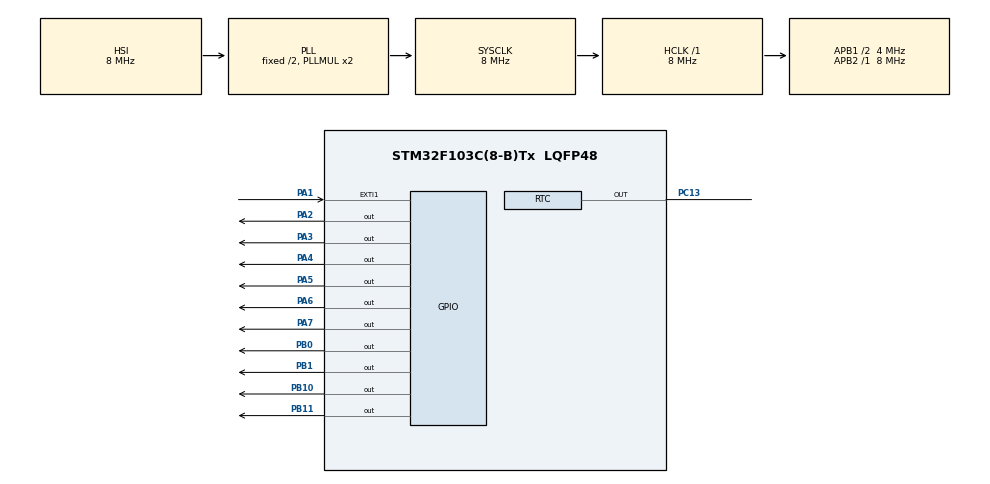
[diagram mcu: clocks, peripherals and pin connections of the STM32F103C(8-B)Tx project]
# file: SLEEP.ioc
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Mcu.Family=STM32F1
Mcu.Name=STM32F103C(8-B)Tx
Mcu.Package=LQFP48
NVIC.EXTI1_IRQn=true\:0\:0\:false\:false\:true\:true\:true
NVIC.PriorityGroup=NVIC_PRIORITYGROUP_4
NVIC.RTC_Alarm_IRQn=true\:0\:0\:false\:false\:true\:true\:true
NVIC.RTC_IRQn=true\:0\:0\:false\:false\:true\:true\:true
PA0-WKUP.Mode=SYS_WakeUp0
PA0-WKUP.Signal=SYS_WKUP
PA1.GPIO_ModeDefaultEXTI=GPIO_MODE_IT_FALLING
PA1.GPIO_PuPd=GPIO_PULLUP
PA1.Signal=GPXTI1
PA13.Mode=Serial_Wire
PA13.Signal=SYS_JTMS-SWDIO
PA14.Mode=Serial_Wire
PA14.Signal=SYS_JTCK-SWCLK
PA2.Signal=GPIO_Output
PA3.Signal=GPIO_Output
PA4.Signal=GPIO_Output
PA5.Signal=GPIO_Output
PA6.Signal=GPIO_Output
PA7.Signal=GPIO_Output
PB0.Signal=GPIO_Output
PB1.Signal=GPIO_Output
PB10.Signal=GPIO_Output
PB11.Signal=GPIO_Output
PC13-TAMPER-RTC.Mode=RTC OUT
PC13-TAMPER-RTC.Signal=RTC_OUT
ProjectManager.HeapSize=0x200
ProjectManager.StackSize=0x400
ProjectManager.TargetToolchain=MDK-ARM V5.27
RCC.AHBFreq_Value=8000000
RCC.APB1CLKDivider=RCC_HCLK_DIV2
RCC.APB1Freq_Value=4000000
RCC.APB1TimFreq_Value=8000000
RCC.APB2Freq_Value=8000000
RCC.APB2TimFreq_Value=8000000
RCC.HCLKFreq_Value=8000000
RCC.SYSCLKFreq_VALUE=8000000
RCC.SYSCLKSource=RCC_SYSCLKSOURCE_PLLCLK
RCC.USBFreq_Value=8000000
RTC.Hours=1
RTC.Hours_A-RTC\ OUT=1
RTC.Seconds_A-RTC\ OUT=10
VP_RTC_VS_RTC_Activate.Mode=RTC_Enabled
VP_RTC_VS_RTC_Calendar.Mode=RTC_Calendar
board=custom

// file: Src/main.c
/* USER CODE BEGIN Header */
/**
  ******************************************************************************
  * @file           : main.c
  * @brief          : Main program body
  ******************************************************************************
  ** This notice applies to any and all portions of this file
  * that are not between comment pairs USER CODE BEGIN and
  * USER CODE END. Other portions of this file, whether
  * inserted by the user or by software development tools
  * are owned by their respective copyright owners.
  *
  * COPYRIGHT(c) 2018 STMicroelectronics
  *
  * Redistribution and use in source and binary forms, with or without modification,
  * are permitted provided that the following conditions are met:
  *   1. Redistributions of source code must retain the above copyright notice,
  *      this list of conditions and the following disclaimer.
  *   2. Redistributions in binary form must reproduce the above copyright notice,
  *      this list of conditions and the following disclaimer in the documentation
  *      and/or other materials provided with the distribution.
  *   3. Neither the name of STMicroelectronics nor the names of its contributors
  *      may be used to endorse or promote products derived from this software
  *      without specific prior written permission.
  *
  * THIS SOFTWARE IS PROVIDED BY THE COPYRIGHT HOLDERS AND CONTRIBUTORS "AS IS"
  * AND ANY EXPRESS OR IMPLIED WARRANTIES, INCLUDING, BUT NOT LIMITED TO, THE
  * IMPLIED WARRANTIES OF MERCHANTABILITY AND FITNESS FOR A PARTICULAR PURPOSE ARE
  * DISCLAIMED. IN NO EVENT SHALL THE COPYRIGHT HOLDER OR CONTRIBUTORS BE LIABLE
  * FOR ANY DIRECT, INDIRECT, INCIDENTAL, SPECIAL, EXEMPLARY, OR CONSEQUENTIAL
  * DAMAGES (INCLUDING, BUT NOT LIMITED TO, PROCUREMENT OF SUBSTITUTE GOODS OR
  * SERVICES; LOSS OF USE, DATA, OR PROFITS; OR BUSINESS INTERRUPTION) HOWEVER
  * CAUSED AND ON ANY THEORY OF LIABILITY, WHETHER IN CONTRACT, STRICT LIABILITY,
  * OR TORT (INCLUDING NEGLIGENCE OR OTHERWISE) ARISING IN ANY WAY OUT OF THE USE
  * OF THIS SOFTWARE, EVEN IF ADVISED OF THE POSSIBILITY OF SUCH DAMAGE.
  *
  ******************************************************************************
  */
/* USER CODE END Header */

#include "main.h"

RTC_HandleTypeDef hrtc;

/* USER CODE BEGIN PV */
/* Private variables ---------------------------------------------------------*/
#define LED1_ON() HAL_GPIO_WritePin(GPIOA, GPIO_PIN_2, GPIO_PIN_SET)
#define LED1_OFF() HAL_GPIO_WritePin(GPIOA, GPIO_PIN_2, GPIO_PIN_RESET)
volatile uint16_t dCount = 0;
/* USER CODE END PV */

void SystemClock_Config(void);
static void MX_GPIO_Init(void);
static void MX_RTC_Init(void);
/* USER CODE BEGIN PFP */
/* Private function prototypes -----------------------------------------------*/

/* USER CODE END PFP */

int main(void)
{
  /* USER CODE BEGIN 1 */
  RTC_TimeTypeDef sTime;
  RTC_AlarmTypeDef sAlarm;
  /* USER CODE END 1 */

  /* MCU Configuration--------------------------------------------------------*/

  /* Reset of all peripherals, Initializes the Flash interface and the Systick. */
  HAL_Init();

  /* Configure the system clock */
  SystemClock_Config();

  /* Initialize all configured peripherals */
  MX_GPIO_Init();
  MX_RTC_Init();

  /* Infinite loop */
  while (1)
  {

    /* USER CODE BEGIN 3 */
  	LED1_ON();
  	HAL_Delay(2000);
  	LED1_OFF();
  	HAL_Delay(2000);
  	HAL_SuspendTick();
  	HAL_PWR_EnterSLEEPMode(PWR_MAINREGULATOR_ON, PWR_SLEEPENTRY_WFI);
  	HAL_ResumeTick();
		dCount +=1;

		if (dCount > 3) {
		LED1_ON();
		HAL_Delay(5000);
		LED1_OFF();
		dCount = 0;}

    sTime.Hours = 1;
    sTime.Minutes = 0;
    sTime.Seconds = 0;
    if (HAL_RTC_SetTime(&hrtc, &sTime, RTC_FORMAT_BIN) != HAL_OK)
    {
      Error_Handler();
    }
    sAlarm.AlarmTime.Hours = 1;
    sAlarm.AlarmTime.Minutes = 0;
    sAlarm.AlarmTime.Seconds = 14;
    sAlarm.Alarm = RTC_ALARM_A;
    if (HAL_RTC_SetAlarm_IT(&hrtc, &sAlarm, RTC_FORMAT_BIN) != HAL_OK)
    {
      Error_Handler();
    }
  /*	LED2_ON();
  	HAL_Delay(2000);
  	LED2_OFF();
  	HAL_Delay(2000);   */
  }
  /* USER CODE END 3 */
}

void SystemClock_Config(void)
{
  RCC_OscInitTypeDef RCC_OscInitStruct = {0};
  RCC_ClkInitTypeDef RCC_ClkInitStruct = {0};
  RCC_PeriphCLKInitTypeDef PeriphClkInit = {0};

  /**Initializes the CPU, AHB and APB busses clocks
  */
  RCC_OscInitStruct.OscillatorType = RCC_OSCILLATORTYPE_HSI|RCC_OSCILLATORTYPE_LSI;
  RCC_OscInitStruct.HSIState = RCC_HSI_ON;
  RCC_OscInitStruct.HSICalibrationValue = RCC_HSICALIBRATION_DEFAULT;
  RCC_OscInitStruct.LSIState = RCC_LSI_ON;
  RCC_OscInitStruct.PLL.PLLState = RCC_PLL_ON;
  RCC_OscInitStruct.PLL.PLLSource = RCC_PLLSOURCE_HSI_DIV2;
  RCC_OscInitStruct.PLL.PLLMUL = RCC_PLL_MUL2;
  if (HAL_RCC_OscConfig(&RCC_OscInitStruct) != HAL_OK)
  {
    Error_Handler();
  }
  /**Initializes the CPU, AHB and APB busses clocks
  */
  RCC_ClkInitStruct.ClockType = RCC_CLOCKTYPE_HCLK|RCC_CLOCKTYPE_SYSCLK
                              |RCC_CLOCKTYPE_PCLK1|RCC_CLOCKTYPE_PCLK2;
  RCC_ClkInitStruct.SYSCLKSource = RCC_SYSCLKSOURCE_PLLCLK;
  RCC_ClkInitStruct.AHBCLKDivider = RCC_SYSCLK_DIV1;
  RCC_ClkInitStruct.APB1CLKDivider = RCC_HCLK_DIV2;
  RCC_ClkInitStruct.APB2CLKDivider = RCC_HCLK_DIV1;

  if (HAL_RCC_ClockConfig(&RCC_ClkInitStruct, FLASH_LATENCY_0) != HAL_OK)
  {
    Error_Handler();
  }
  PeriphClkInit.PeriphClockSelection = RCC_PERIPHCLK_RTC;
  PeriphClkInit.RTCClockSelection = RCC_RTCCLKSOURCE_LSI;
  if (HAL_RCCEx_PeriphCLKConfig(&PeriphClkInit) != HAL_OK)
  {
    Error_Handler();
  }
}

static void MX_RTC_Init(void)
{

  RTC_TimeTypeDef sTime = {0};
  RTC_DateTypeDef DateToUpdate = {0};
  RTC_AlarmTypeDef sAlarm = {0};

  /**Initialize RTC Only
  */
  hrtc.Instance = RTC;
  hrtc.Init.AsynchPrediv = RTC_AUTO_1_SECOND;
  hrtc.Init.OutPut = RTC_OUTPUTSOURCE_ALARM;
  if (HAL_RTC_Init(&hrtc) != HAL_OK)
  {
    Error_Handler();
  }

  /**Initialize RTC and set the Time and Date
  */
  sTime.Hours = 0x1;
  sTime.Minutes = 0x0;
  sTime.Seconds = 0x0;

  if (HAL_RTC_SetTime(&hrtc, &sTime, RTC_FORMAT_BCD) != HAL_OK)
  {
    Error_Handler();
  }
  DateToUpdate.WeekDay = RTC_WEEKDAY_MONDAY;
  DateToUpdate.Month = RTC_MONTH_JANUARY;
  DateToUpdate.Date = 0x1;
  DateToUpdate.Year = 0x0;

  if (HAL_RTC_SetDate(&hrtc, &DateToUpdate, RTC_FORMAT_BCD) != HAL_OK)
  {
    Error_Handler();
  }
  /**Enable the Alarm A
  */
  sAlarm.AlarmTime.Hours = 0x1;
  sAlarm.AlarmTime.Minutes = 0x0;
  sAlarm.AlarmTime.Seconds = 0x10;
  sAlarm.Alarm = RTC_ALARM_A;
  if (HAL_RTC_SetAlarm_IT(&hrtc, &sAlarm, RTC_FORMAT_BCD) != HAL_OK)
  {
    Error_Handler();
  }

}

static void MX_GPIO_Init(void)
{
  GPIO_InitTypeDef GPIO_InitStruct = {0};

  /* GPIO Ports Clock Enable */
  __HAL_RCC_GPIOC_CLK_ENABLE();
  __HAL_RCC_GPIOA_CLK_ENABLE();
  __HAL_RCC_GPIOB_CLK_ENABLE();

  /*Configure GPIO pin Output Level */
  HAL_GPIO_WritePin(GPIOA, GPIO_PIN_2|GPIO_PIN_3|GPIO_PIN_4|GPIO_PIN_5
                          |GPIO_PIN_6|GPIO_PIN_7, GPIO_PIN_RESET);

  /*Configure GPIO pin Output Level */
  HAL_GPIO_WritePin(GPIOB, GPIO_PIN_0|GPIO_PIN_1|GPIO_PIN_10|GPIO_PIN_11, GPIO_PIN_RESET);

  /*Configure GPIO pin : PA1 */
  GPIO_InitStruct.Pin = GPIO_PIN_1;
  GPIO_InitStruct.Mode = GPIO_MODE_IT_FALLING;
  GPIO_InitStruct.Pull = GPIO_PULLUP;
  HAL_GPIO_Init(GPIOA, &GPIO_InitStruct);

  /*Configure GPIO pins : PA2 PA3 PA4 PA5
                           PA6 PA7 */
  GPIO_InitStruct.Pin = GPIO_PIN_2|GPIO_PIN_3|GPIO_PIN_4|GPIO_PIN_5
                          |GPIO_PIN_6|GPIO_PIN_7;
  GPIO_InitStruct.Mode = GPIO_MODE_OUTPUT_PP;
  GPIO_InitStruct.Pull = GPIO_NOPULL;
  GPIO_InitStruct.Speed = GPIO_SPEED_FREQ_LOW;
  HAL_GPIO_Init(GPIOA, &GPIO_InitStruct);

  /*Configure GPIO pins : PB0 PB1 PB10 PB11 */
  GPIO_InitStruct.Pin = GPIO_PIN_0|GPIO_PIN_1|GPIO_PIN_10|GPIO_PIN_11;
  GPIO_InitStruct.Mode = GPIO_MODE_OUTPUT_PP;
  GPIO_InitStruct.Pull = GPIO_NOPULL;
  GPIO_InitStruct.Speed = GPIO_SPEED_FREQ_LOW;
  HAL_GPIO_Init(GPIOB, &GPIO_InitStruct);

  /* EXTI interrupt init*/
  HAL_NVIC_SetPriority(EXTI1_IRQn, 0, 0);
  HAL_NVIC_EnableIRQ(EXTI1_IRQn);

}

/* USER CODE BEGIN 4 */
//-----------------------------------------------

//-----------------------------------------------
/* USER CODE END 4 */

void Error_Handler(void)
{
  while(1)
  {
  }
}

/************************ (C) COPYRIGHT STMicroelectronics *****END OF FILE****/
